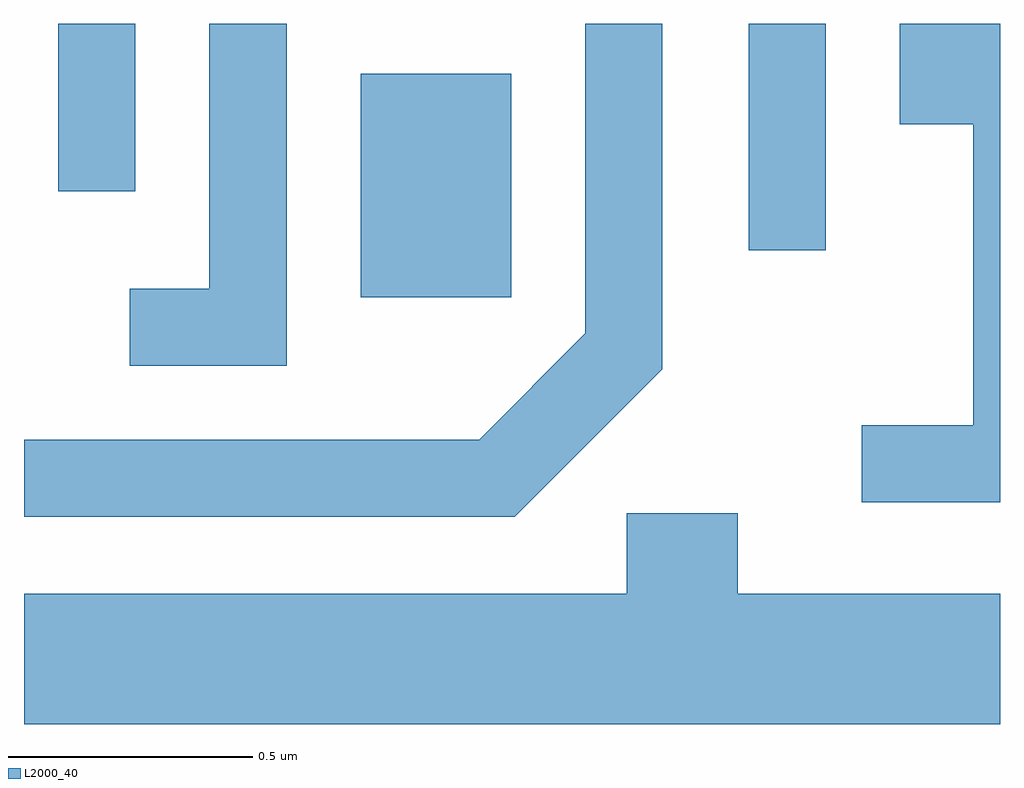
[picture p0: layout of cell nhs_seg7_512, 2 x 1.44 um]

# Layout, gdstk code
import gdstk
lib = gdstk.Library(unit=1e-6, precision=1e-09)
def R(c, l, rs):  # rectangles x0, y0, x1, y1
    for r in rs: c.add(gdstk.rectangle(r[:2], r[2:], *l))
def P(c, l, *ps):  # polygons
    for p in ps: c.add(gdstk.Polygon(p, *l))
L2000_40 = (2000, 40)

nhs_seg7_512 = lib.new_cell('nhs_seg7_512')
R(nhs_seg7_512, L2000_40, [(189.301,1770.691,189.609,1771.149), (190.096,1770.788,190.254,1771.252), (188.681,1770.908,188.839,1771.252)])
P(nhs_seg7_512, L2000_40, [(189.149,1771.252),(188.991,1771.252),(188.991,1770.709),(188.828,1770.709),(188.828,1770.551),(189.149,1770.551)],
  [(190.611,1771.252),(190.406,1771.252),(190.406,1771.046),(190.556,1771.046),(190.556,1770.429),(190.328,1770.429),(190.328,1770.271),(190.611,1770.271)],
  [(189.919,1770.544),(189.919,1771.252),(189.761,1771.252),(189.761,1770.617),(189.544,1770.399),(188.611,1770.399),(188.611,1770.241),(189.617,1770.241)],
  [(190.611,1770.084),(190.074,1770.084),(190.074,1770.249),(189.846,1770.249),(189.846,1770.084),(188.611,1770.084),(188.611,1769.816),(190.611,1769.816)])

lib.write_gds('nhs_seg7_512.gds')
